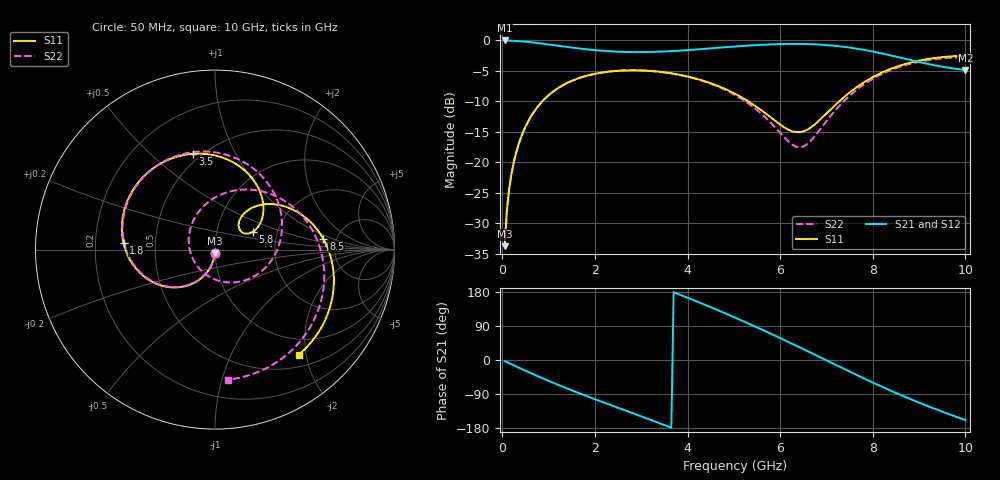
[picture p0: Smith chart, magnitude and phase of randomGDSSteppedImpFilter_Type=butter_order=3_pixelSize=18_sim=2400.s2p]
! freq	dB(S11)	phase(S11)	dB(S12)	phase(S12)
!  dB(S21)	phase(S21)	dB(S22)	phase(S22)
!S-par simulation data
#  GHz  S  DB  R 50
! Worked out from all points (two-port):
!   200 points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, 50 MHz to 10 GHz, reference 50 ohm
!   highest |S21| = -0.01 dB at 50 MHz (marker M1); lowest = -4.8 dB at 10 GHz (marker M2)
!   |S21| within 3 dB of the highest: start of sweep to 8.696 GHz
!   lowest |S11| = -33.7 dB at 50 MHz (marker M3), VSWR 1.04, Z = 49.9 - j2.05 ohm
!   |S11| at or under -10 dB: start of sweep to 862.5 MHz; 5.314 GHz to 7.274 GHz (1.96 GHz wide, 31.1 % of centre)
!   |S22| runs from -33.7 to -2.8 dB; largest |S21 - S12| = 0
!   S11 on the Smith chart (normalised r, x): 50 MHz: 1.00, -0.04; 1.8 GHz: 0.32, +0.03; 3.5 GHz: 0.45, +0.69; 5.8 GHz: 1.50, +0.31; 8.5 GHz: 3.94, +0.73; 10 GHz: 0.70, -1.87
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0.05  -33.72 -92.9  -0.01 -2.9  -0.01 -2.9  -33.72 -92.9
0.1  -27.73 -95.9  -0.02 -5.8  -0.02 -5.8  -27.72 -96.0
0.2  -21.79 -101.8  -0.05 -11.5  -0.05 -11.5  -21.78 -101.9
0.5  -14.16 -118.7  -0.21 -28.3  -0.21 -28.3  -14.15 -118.9
1.1  -8.37 -150.5  -0.76 -60.2  -0.76 -60.2  -8.37 -151.1
1.75  -5.94 178.2  -1.40 -91.9  -1.40 -91.9  -5.94 176.8
1.8  -5.83 176.0  -1.44 -94.2  -1.44 -94.2  -5.83 174.4
2.5  -4.97 145.1  -1.85 -126.2  -1.85 -126.2  -4.98 141.6
3.4  -5.14 107.0  -1.85 -167.1  -1.85 -167.1  -5.16 98.3
3.5  -5.23 102.8  -1.81 -171.7  -1.81 -171.7  -5.25 93.3
4.3  -6.52 69.9  -1.42 149.5  -1.42 149.5  -6.58 49.9
5.05  -8.84 41.8  -0.98 110.6  -0.98 110.6  -9.05 2.3
5.8  -12.64 25.2  -0.65 69.2  -0.65 69.2  -13.53 -60.3
6.35  -15.04 35.5  -0.58 37.5  -0.58 37.5  -17.43 -138.2
6.7  -14.05 48.0  -0.63 16.9  -0.63 16.9  -16.11 159.0
7.15  -10.87 50.1  -0.86 -9.8  -0.86 -9.8  -11.81 102.2
7.6  -7.96 39.4  -1.28 -36.4  -1.28 -36.4  -8.41 61.9
7.95  -6.23 27.1  -1.75 -56.7  -1.75 -56.7  -6.52 35.3
8.35  -4.77 11.6  -2.40 -78.9  -2.40 -78.9  -4.98 8.0
8.5  -4.34 5.6  -2.66 -87.0  -2.66 -87.0  -4.54 -1.6
9.15  -3.10 -20.0  -3.79 -119.8  -3.79 -119.8  -3.29 -39.8
10  -2.51 -51.5  -4.84 -158.7  -4.84 -158.7  -2.76 -84.2
